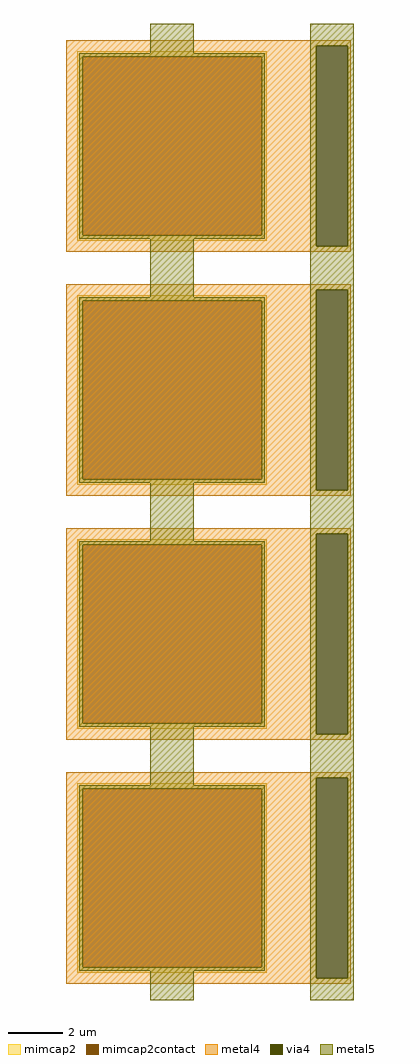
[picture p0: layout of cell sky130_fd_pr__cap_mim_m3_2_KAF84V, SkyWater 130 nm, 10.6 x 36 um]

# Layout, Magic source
magic
tech sky130B
magscale 1 2
<< metal4 >>
rect -1049 3439 1049 3480
rect -1049 1961 793 3439
rect 1029 1961 1049 3439
rect -1049 1920 1049 1961
rect -1049 1639 1049 1680
rect -1049 161 793 1639
rect 1029 161 1049 1639
rect -1049 120 1049 161
rect -1049 -161 1049 -120
rect -1049 -1639 793 -161
rect 1029 -1639 1049 -161
rect -1049 -1680 1049 -1639
rect -1049 -1961 1049 -1920
rect -1049 -3439 793 -1961
rect 1029 -3439 1049 -1961
rect -1049 -3480 1049 -3439
<< via4 >>
rect 793 1961 1029 3439
rect 793 161 1029 1639
rect 793 -1639 1029 -161
rect 793 -3439 1029 -1961
<< mimcap2 >>
rect -969 3360 431 3400
rect -969 2040 -929 3360
rect 391 2040 431 3360
rect -969 2000 431 2040
rect -969 1560 431 1600
rect -969 240 -929 1560
rect 391 240 431 1560
rect -969 200 431 240
rect -969 -240 431 -200
rect -969 -1560 -929 -240
rect 391 -1560 431 -240
rect -969 -1600 431 -1560
rect -969 -2040 431 -2000
rect -969 -3360 -929 -2040
rect 391 -3360 431 -2040
rect -969 -3400 431 -3360
<< mimcap2contact >>
rect -929 2040 391 3360
rect -929 240 391 1560
rect -929 -1560 391 -240
rect -929 -3360 391 -2040
<< metal5 >>
rect -429 3384 -109 3600
rect 751 3439 1071 3600
rect -953 3360 415 3384
rect -953 2040 -929 3360
rect 391 2040 415 3360
rect -953 2016 415 2040
rect -429 1584 -109 2016
rect 751 1961 793 3439
rect 1029 1961 1071 3439
rect 751 1639 1071 1961
rect -953 1560 415 1584
rect -953 240 -929 1560
rect 391 240 415 1560
rect -953 216 415 240
rect -429 -216 -109 216
rect 751 161 793 1639
rect 1029 161 1071 1639
rect 751 -161 1071 161
rect -953 -240 415 -216
rect -953 -1560 -929 -240
rect 391 -1560 415 -240
rect -953 -1584 415 -1560
rect -429 -2016 -109 -1584
rect 751 -1639 793 -161
rect 1029 -1639 1071 -161
rect 751 -1961 1071 -1639
rect -953 -2040 415 -2016
rect -953 -3360 -929 -2040
rect 391 -3360 415 -2040
rect -953 -3384 415 -3360
rect -429 -3600 -109 -3384
rect 751 -3439 793 -1961
rect 1029 -3439 1071 -1961
rect 751 -3600 1071 -3439
<< properties >>
string FIXED_BBOX -1049 1920 511 3480
string gencell sky130_fd_pr__cap_mim_m3_2
string library sky130
string parameters w 7.0 l 7.0 val 103.32 carea 2.00 cperi 0.19 nx 1 ny 4 dummy 0 square 0 lmin 2.00 wmin 2.00 lmax 30.0 wmax 30.0 dc 0 bconnect 1 tconnect 1 ccov 100
<< end >>
